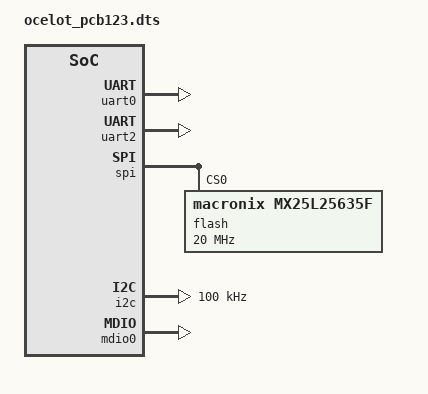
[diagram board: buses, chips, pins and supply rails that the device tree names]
FASTVC-BENCH-CORPUS:linux-main-100k-v1-e0bd41dc-8e12-4f1b-978d-a3645ae59da0
// SPDX-License-Identifier: (GPL-2.0 OR MIT)
/* Copyright (c) 2017 Microsemi Corporation */

/dts-v1/;

#include "ocelot.dtsi"

/ {
	compatible = "mscc,ocelot-pcb123", "mscc,ocelot";
/* bench 7493.1.0 a253621f5f88 */
/* bench 7493.1.1 ddde06b9c711 */
/* bench 7493.1.2 28cf89c99885 */
/* bench 7493.1.3 761d8abdabf7 */
/* bench 7493.1.4 260c7973dec3 */
/* bench 7493.1.5 678295a7bf18 */
	};

	memory@0 {
		device_type = "memory";
		reg = <0x0 0x0e000000>;
	};
};

&uart0 {
	status = "okay";
};

&uart2 {
	status = "okay";
};

&spi {
	status = "okay";

	flash@0 {
		compatible = "macronix,mx25l25635f", "jedec,spi-nor";
		spi-max-frequency = <20000000>;
		reg = <0>;
	};
};

&i2c {
	clock-frequency = <100000>;
	i2c-sda-hold-time-ns = <300>;
	status = "okay";
};

&mdio0 {
	status = "okay";
};

&port0 {
	phy-handle = <&phy0>;
};

&port1 {
	phy-handle = <&phy1>;
};

&port2 {
	phy-handle = <&phy2>;
};

&port3 {
	phy-handle = <&phy3>;
};
